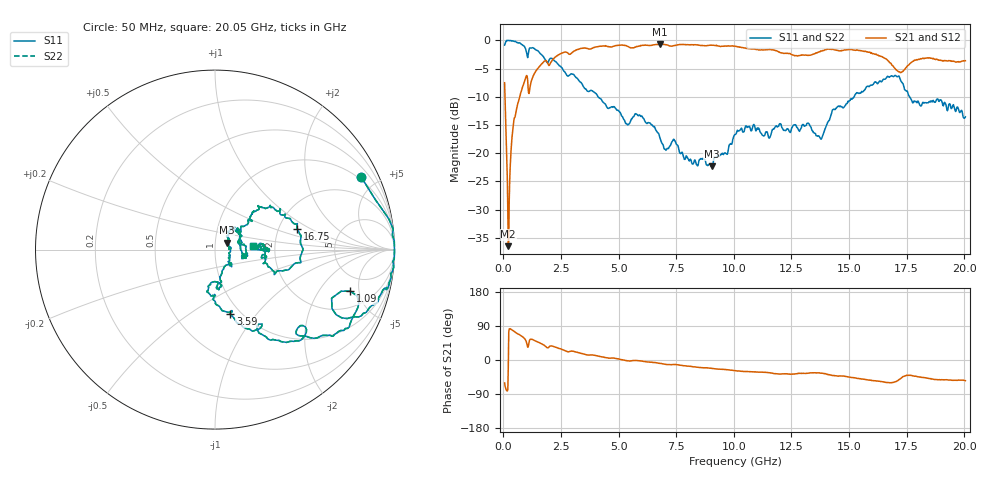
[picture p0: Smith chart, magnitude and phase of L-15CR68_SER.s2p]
! P/N: L-15CR68JE
! Measured by Marlon
! Oct. 13, 2003
! Measure with Series-through-Fixture
#	mhz	s	ma	r	50
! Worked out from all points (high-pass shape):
!   1001 points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, 50 MHz to 20.05 GHz, reference 50 ohm
!   highest |S21| = -0.68 dB at 6.79 GHz (marker M1); lowest = -36.5 dB at 210 MHz (marker M2)
!   |S21| within 3 dB of the highest: 2.091 GHz to 16.71 GHz (14.62 GHz wide, 156 % of centre); 17.78 GHz to 19.42 GHz (1.638 GHz wide, 8.81 % of centre) (the widest 2 of 6)
!   lowest |S11| = -22.3 dB at 9.03 GHz (marker M3), VSWR 1.17, Z = 56.9 + j4.43 ohm
!   |S11| at or under -10 dB: 4.108 GHz to 15.22 GHz (11.11 GHz wide, 115 % of centre); 17.63 GHz to end of sweep
!   |S22| runs from -22.3 to 0.0 dB; largest |S21 - S12| = 0
!   S11 on the Smith chart (normalised r, x): 50 MHz: 0.88, +4.11; 1.09 GHz: 3.30, -4.07; 3.59 GHz: 0.90, -0.74; 16.75 GHz: 2.52, +0.76; 20.05 GHz: 1.53, +0.07
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50  0.9097 26.2  0.4218 -60.5  0.4218 -60.5  0.9097 26.2
210  1 -0.0  0.015 -17.3  0.015 -17.3  1 -0.0
290  0.9975 -4.6  0.07353 82.6  0.07353 82.6  0.9975 -4.6
390  0.9905 -10.1  0.1512 78.3  0.1512 78.3  0.9905 -10.1
530  0.9779 -12.6  0.2242 72.4  0.2242 72.4  0.9779 -12.6
930  0.8682 -25.5  0.445 55.4  0.445 55.4  0.8682 -25.5
1090  0.7893 -17.1  0.3439 39.9  0.3439 39.9  0.7893 -17.1
2210  0.6604 -50.7  0.7023 35.0  0.7023 35.0  0.6604 -50.7
3390  0.4181 -73.6  0.8504 17.4  0.8504 17.4  0.4181 -73.6
3590  0.3681 -76.6  0.8546 13.9  0.8546 13.9  0.3681 -76.6
6730  0.1503 -78.0  0.9211 -8.6  0.9211 -8.6  0.1503 -78.0
6790  0.1371 -73.7  0.9252 -8.9  0.9252 -8.9  0.1371 -73.7
9030  0.07632 30.5  0.9083 -22.0  0.9083 -22.0  0.07632 30.5
10050  0.1463 55.1  0.8903 -27.9  0.8903 -27.9  0.1463 55.1
13390  0.1596 -8.3  0.7487 -33.8  0.7487 -33.8  0.1596 -8.3
13810  0.1349 19.5  0.8053 -34.9  0.8053 -34.9  0.1349 19.5
14350  0.2455 41.9  0.8253 -40.9  0.8253 -40.9  0.2455 41.9
15390  0.3417 45.5  0.8189 -48.9  0.8189 -48.9  0.3417 45.5
16730  0.4729 15.6  0.6512 -59.8  0.6512 -59.8  0.4729 15.6
16750  0.4717 14.3  0.6402 -60.1  0.6402 -60.1  0.4717 14.3
17430  0.3632 -20.0  0.5589 -41.8  0.5589 -41.8  0.3632 -20.0
20050  0.2101 5.8  0.6617 -54.4  0.6617 -54.4  0.2101 5.8
